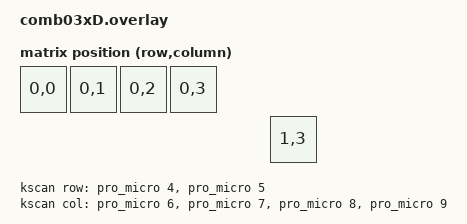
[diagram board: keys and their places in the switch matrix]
#include <dt-bindings/zmk/matrix_transform.h> 

/ {
    kscan: kscan {
        compatible = "zmk,kscan-gpio-matrix";
        diode-direction = "col2row";
        
        col-gpios
	    = <&pro_micro 6 GPIO_ACTIVE_HIGH> //6 or 15
	    , <&pro_micro 7 GPIO_ACTIVE_HIGH> //7 or 14
	    , <&pro_micro 8 GPIO_ACTIVE_HIGH>//8 or 16
	    , <&pro_micro 9 GPIO_ACTIVE_HIGH>//9 or 10
	    ;
	
        row-gpios
	    = <&pro_micro 4 (GPIO_ACTIVE_HIGH | GPIO_PULL_DOWN)> //4 or 19
	    , <&pro_micro 5 (GPIO_ACTIVE_HIGH | GPIO_PULL_DOWN)> //5 or 18
	    ;

    };
    
    default_transform: matrix_transform {
        compatible = "zmk,matrix-transform";
        columns = <4>;
        rows = <2>;
        map = <
            RC(0,0) RC(0,1) RC(0,2) RC(0,3)
                                                     RC(1,3)
        >;
    };
    
    physical_layout: physical_layout { // First physical layout, use different naming for other layouts
        compatible = "zmk,physical-layout";
        display-name = "Default Layout";
        transform = <&default_transform>; // Label of the matrix transform for this layout
    };
    
    
    chosen {
        zmk,kscan = &kscan;
        zmk,physical-layout = &physical_layout;
    };
};
